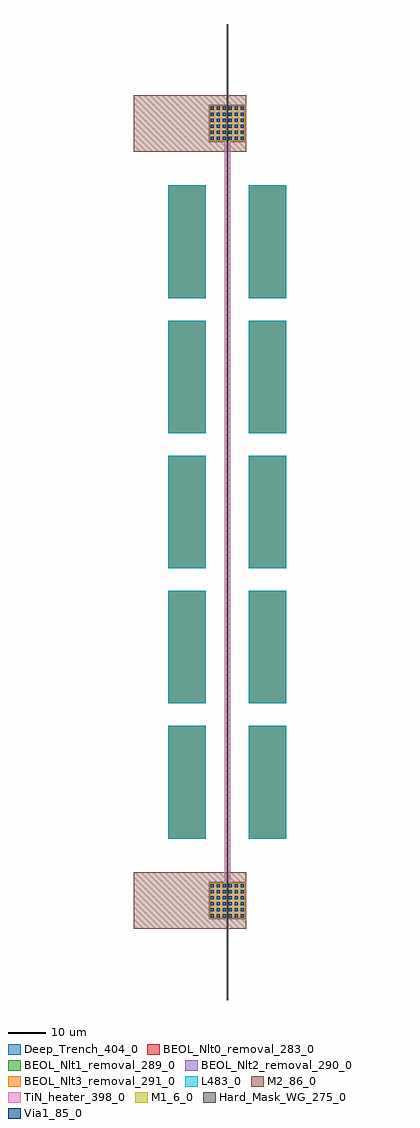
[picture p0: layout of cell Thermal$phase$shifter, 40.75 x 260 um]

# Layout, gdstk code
import gdstk
lib = gdstk.Library(unit=1e-6, precision=1e-09)
def R(c, l, rs):  # rectangles x0, y0, x1, y1
    for r in rs: c.add(gdstk.rectangle(r[:2], r[2:], *l))
def A(c, l, x, y, w, h, nx, ny, dx, dy):  # array of equal rectangles
    R(c, l, [(x+i*dx, y+j*dy, x+i*dx+w, y+j*dy+h) for i in range(nx) for j in range(ny)])
M1_6_0 = (6, 0)
Via1_85_0 = (85, 0)
M2_86_0 = (86, 0)
Hard_Mask_WG_275_0 = (275, 0)
BEOL_Nlt0_removal_283_0 = (283, 0)
BEOL_Nlt1_removal_289_0 = (289, 0)
BEOL_Nlt2_removal_290_0 = (290, 0)
BEOL_Nlt3_removal_291_0 = (291, 0)
TiN_heater_398_0 = (398, 0)
Deep_Trench_404_0 = (404, 0)
L483_0 = (483, 0)

thermal_phase_shifter = lib.new_cell('Thermal$phase$shifter')
R(thermal_phase_shifter, M1_6_0, [(20.249,21.75,29.749,31.25), (20.249,228.75,29.749,238.25)])
A(thermal_phase_shifter, Via1_85_0, 20.6, 22.1, 0.8, 0.8, 6, 6, 1.6, 1.6)
A(thermal_phase_shifter, Via1_85_0, 20.6, 229.1, 0.8, 0.8, 6, 6, 1.6, 1.6)
R(thermal_phase_shifter, M2_86_0, [(0,19,20,34), (20,19,30,34), (0,226,20,241), (20,226,30,241)])
R(thermal_phase_shifter, Hard_Mask_WG_275_0, [(24.795,0,25.205,260)])
A(thermal_phase_shifter, BEOL_Nlt0_removal_283_0, 9.25, 43, 10, 30, 1, 5, 0, 36)
A(thermal_phase_shifter, BEOL_Nlt0_removal_283_0, 30.75, 43, 10, 30, 1, 5, 0, 36)
A(thermal_phase_shifter, BEOL_Nlt1_removal_289_0, 9.25, 43, 10, 30, 1, 5, 0, 36)
A(thermal_phase_shifter, BEOL_Nlt1_removal_289_0, 30.75, 43, 10, 30, 1, 5, 0, 36)
A(thermal_phase_shifter, BEOL_Nlt2_removal_290_0, 9.25, 43, 10, 30, 1, 5, 0, 36)
A(thermal_phase_shifter, BEOL_Nlt2_removal_290_0, 30.75, 43, 10, 30, 1, 5, 0, 36)
A(thermal_phase_shifter, BEOL_Nlt3_removal_291_0, 9.25, 43, 10, 30, 1, 5, 0, 36)
A(thermal_phase_shifter, BEOL_Nlt3_removal_291_0, 30.75, 43, 10, 30, 1, 5, 0, 36)
R(thermal_phase_shifter, TiN_heater_398_0, [(19.999,21.5,29.999,31.5), (24.25,31,25.75,229), (19.999,228.5,29.999,238.5)])
A(thermal_phase_shifter, Deep_Trench_404_0, 9.25, 43, 10, 30, 1, 5, 0, 36)
A(thermal_phase_shifter, Deep_Trench_404_0, 30.75, 43, 10, 30, 1, 5, 0, 36)
A(thermal_phase_shifter, L483_0, 9.25, 43, 10, 30, 1, 5, 0, 36)
A(thermal_phase_shifter, L483_0, 30.75, 43, 10, 30, 1, 5, 0, 36)

lib.write_gds('Thermal_phase_shifter.gds')
